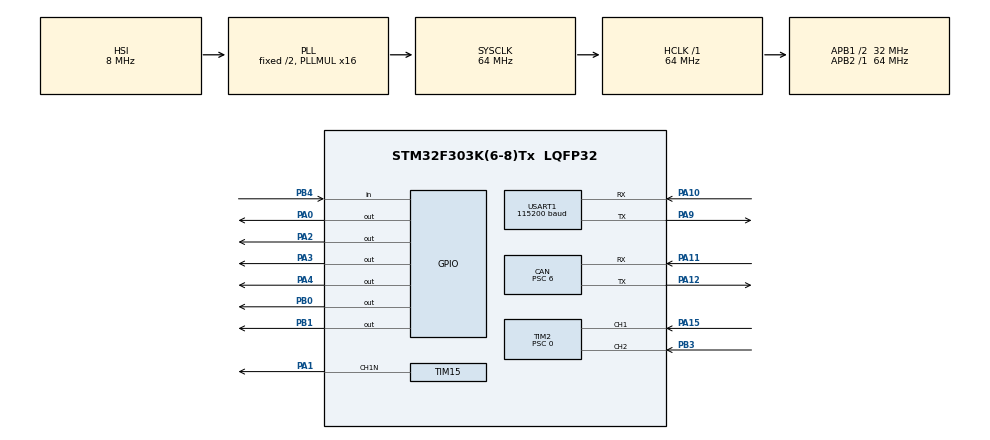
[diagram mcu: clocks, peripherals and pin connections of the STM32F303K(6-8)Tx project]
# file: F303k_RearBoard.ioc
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CAN.BS1=CAN_BS1_10TQ
CAN.CalculateTimeQuantum=187.5
CAN.Mode=CAN_MODE_NORMAL
CAN.Prescaler=6
IWDG.Prescaler=IWDG_PRESCALER_8
Mcu.Family=STM32F3
Mcu.Name=STM32F303K(6-8)Tx
Mcu.Package=LQFP32
NVIC.CAN_RX0_IRQn=true\:2\:0\:true\:false\:true\:true\:true
NVIC.CAN_RX1_IRQn=true\:3\:0\:true\:false\:true\:true\:true
NVIC.CAN_TX_IRQn=true\:1\:0\:true\:false\:true\:true\:true
NVIC.PriorityGroup=NVIC_PRIORITYGROUP_4
NVIC.TIM7_DAC2_IRQn=true\:5\:0\:true\:false\:true\:true\:true
PA0.Signal=GPIO_Output
PA1.GPIO_PuPd=GPIO_NOPULL
PA1.GPIO_Speed=GPIO_SPEED_FREQ_HIGH
PA1.Mode=PWM Generation1 CH1N
PA1.Signal=TIM15_CH1N
PA10.Mode=Asynchronous
PA10.Signal=USART1_RX
PA11.Mode=Master
PA11.Signal=CAN_RX
PA12.Mode=Master
PA12.Signal=CAN_TX
PA13.Mode=Serial_Wire
PA13.Signal=SYS_JTMS-SWDIO
PA14.Mode=Serial_Wire
PA14.Signal=SYS_JTCK-SWCLK
PA15.GPIO_ModeDefaultPP=GPIO_MODE_AF_PP
PA15.GPIO_PuPd=GPIO_NOPULL
PA15.GPIO_Speed=GPIO_SPEED_FREQ_HIGH
PA15.Signal=S_TIM2_CH1_ETR
PA2.Signal=GPIO_Output
PA3.Signal=GPIO_Output
PA4.Signal=GPIO_Output
PA9.Mode=Asynchronous
PA9.Signal=USART1_TX
PB0.Signal=GPIO_Output
PB1.Signal=GPIO_Output
PB3.GPIO_ModeDefaultPP=GPIO_MODE_AF_PP
PB3.GPIO_PuPd=GPIO_NOPULL
PB3.GPIO_Speed=GPIO_SPEED_FREQ_HIGH
PB3.Signal=S_TIM2_CH2
PB4.Signal=GPIO_Input
PF0\ /\ OSC_IN.Mode=HSE-External-Oscillator
PF0\ /\ OSC_IN.Signal=RCC_OSC_IN
PF1\ /\ OSC_OUT.Mode=HSE-External-Oscillator
PF1\ /\ OSC_OUT.Signal=RCC_OSC_OUT
ProjectManager.HeapSize=0x200
ProjectManager.StackSize=0x400
ProjectManager.TargetToolchain=STM32CubeIDE
RCC.AHBFreq_Value=64000000
RCC.APB1CLKDivider=RCC_HCLK_DIV2
RCC.APB1Freq_Value=32000000
RCC.APB1TimFreq_Value=64000000
RCC.APB2Freq_Value=64000000
RCC.APB2TimFreq_Value=64000000
RCC.CortexFreq_Value=64000000
RCC.HCLKFreq_Value=64000000
RCC.HSE_VALUE=8000000
RCC.HSI_VALUE=8000000
RCC.PLLMUL=RCC_PLL_MUL16
RCC.SYSCLKFreq_VALUE=64000000
RCC.SYSCLKSourceVirtual=RCC_SYSCLKSOURCE_PLLCLK
SH.S_TIM2_CH1_ETR.0=TIM2_CH1,Encoder_Interface
SH.S_TIM2_CH2.0=TIM2_CH2,Encoder_Interface
TIM15.Channel-PWM\ Generation1\ CH1N=TIM_CHANNEL_1
TIM15.Period=1000
TIM15.Prescaler=72
TIM2.EncoderMode=TIM_ENCODERMODE_TI1
TIM2.IC1Filter=2
TIM2.IC1Polarity=TIM_ICPOLARITY_RISING
TIM2.IC2Filter=2
TIM2.IC2Polarity=TIM_ICPOLARITY_RISING
TIM2.Period=2000000000
TIM2.Prescaler=0
TIM7.Period=10000
TIM7.Prescaler=72
USART1.BaudRate=115200
USART1.SwapParam=ADVFEATURE_SWAP_DISABLE
USART1.VirtualMode-Asynchronous=VM_ASYNC
VP_IWDG_VS_IWDG.Mode=IWDG_Activate
VP_TIM7_VS_ClockSourceINT.Mode=Enable_Timer
board=custom

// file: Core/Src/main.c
/* USER CODE BEGIN Header */
/**
  ******************************************************************************
  * @file           : main.c
  * @brief          : Main program body
  ******************************************************************************
  * @attention
  *
  * <h2><center>&copy; Copyright (c) 2020 STMicroelectronics.
  * All rights reserved.</center></h2>
  *
  * This software component is licensed by ST under BSD 3-Clause license,
  * the "License"; You may not use this file except in compliance with the
  * License. You may obtain a copy of the License at:
  *                        opensource.org/licenses/BSD-3-Clause
  *
  ******************************************************************************
  */
/* USER CODE END Header */
#include "main.h"
#include "can.h"
#include "iwdg.h"
#include "tim.h"
#include "usart.h"
#include "gpio.h"

/* USER CODE BEGIN Includes */
#include "management.h"
/* USER CODE END Includes */

void SystemClock_Config(void);

/* USER CODE BEGIN 0 */
#ifdef __GNUC__
#define PUTCHAR_PROTOTYPE int __io_putchar(int ch)
#else
#define PUTCHAR_PROTOTYPE int fputc(int ch, FILE *f)
#endif /* __GNUC__ */
void __io_putchar(uint8_t ch) {
HAL_UART_Transmit(&huart1, &ch, 1, 1);
}

uint8_t Craction_in,Break_in,Flont_Lamp_in,Key_in,EX_in,Winker_L_in,Winker_R_in;
uint8_t state;
float slot;
uint8_t cnt_Winker_L,cnt_Winker_R;
float speed;
int32_t speed_count,counter;
/* USER CODE END 0 */

int main(void)
{

  /* MCU Configuration--------------------------------------------------------*/

  /* Reset of all peripherals, Initializes the Flash interface and the Systick. */
  HAL_Init();

  /* Configure the system clock */
  SystemClock_Config();

  /* Initialize all configured peripherals */
  MX_GPIO_Init();
  MX_CAN_Init();
  MX_USART1_UART_Init();
  MX_TIM2_Init();
  MX_TIM7_Init();
  MX_TIM15_Init();
  MX_IWDG_Init();
  /* USER CODE BEGIN 2 */
  setbuf(stdout, NULL);
  can_init(&hcan);
  HAL_TIM_Base_Start_IT(&htim7);
  HAL_TIM_PWM_Init(&htim15);
  HAL_TIM_PWM_Start(&htim15, TIM_CHANNEL_1);
  __HAL_TIM_SET_COMPARE(&htim15, TIM_CHANNEL_1, 1001);
  HAL_TIMEx_PWMN_Start(&htim15, TIM_CHANNEL_1);
  TIM2->CNT=2000000;
  HAL_TIM_Encoder_Start(&htim2, TIM_CHANNEL_ALL);
  /* USER CODE END 2 */

  /* Infinite loop */
  while (1)
  {

    /* USER CODE BEGIN 3 */
	  printf(" slot=%f",slot);
	  printf(" state=%d",state);
	  printf(" C=%d",Craction_in);
	  printf(" F=%d",Flont_Lamp_in);
	  printf(" B=%d",Break_in);
	  printf(" L=%d",Winker_L_in);
	  printf(" R=%d",Winker_R_in);
	  printf(" K=%d",Key_in);
	  printf(" E=%d",EX_in);
	  printf(" speed=%f",speed);
	  printf(" speed_count=%d",(TIM2->CNT));
	  printf("\r\n");
	  HAL_IWDG_Refresh(&hiwdg);
  }
  /* USER CODE END 3 */
}

void SystemClock_Config(void)
{
  RCC_OscInitTypeDef RCC_OscInitStruct = {0};
  RCC_ClkInitTypeDef RCC_ClkInitStruct = {0};
  RCC_PeriphCLKInitTypeDef PeriphClkInit = {0};

  /** Initializes the RCC Oscillators according to the specified parameters
  * in the RCC_OscInitTypeDef structure.
  */
  RCC_OscInitStruct.OscillatorType = RCC_OSCILLATORTYPE_HSI|RCC_OSCILLATORTYPE_LSI;
  RCC_OscInitStruct.HSIState = RCC_HSI_ON;
  RCC_OscInitStruct.HSICalibrationValue = RCC_HSICALIBRATION_DEFAULT;
  RCC_OscInitStruct.LSIState = RCC_LSI_ON;
  RCC_OscInitStruct.PLL.PLLState = RCC_PLL_ON;
  RCC_OscInitStruct.PLL.PLLSource = RCC_PLLSOURCE_HSI;
  RCC_OscInitStruct.PLL.PLLMUL = RCC_PLL_MUL16;
  if (HAL_RCC_OscConfig(&RCC_OscInitStruct) != HAL_OK)
  {
    Error_Handler();
  }
  /** Initializes the CPU, AHB and APB buses clocks
  */
  RCC_ClkInitStruct.ClockType = RCC_CLOCKTYPE_HCLK|RCC_CLOCKTYPE_SYSCLK
                              |RCC_CLOCKTYPE_PCLK1|RCC_CLOCKTYPE_PCLK2;
  RCC_ClkInitStruct.SYSCLKSource = RCC_SYSCLKSOURCE_PLLCLK;
  RCC_ClkInitStruct.AHBCLKDivider = RCC_SYSCLK_DIV1;
  RCC_ClkInitStruct.APB1CLKDivider = RCC_HCLK_DIV2;
  RCC_ClkInitStruct.APB2CLKDivider = RCC_HCLK_DIV1;

  if (HAL_RCC_ClockConfig(&RCC_ClkInitStruct, FLASH_LATENCY_2) != HAL_OK)
  {
    Error_Handler();
  }
  PeriphClkInit.PeriphClockSelection = RCC_PERIPHCLK_USART1;
  PeriphClkInit.Usart1ClockSelection = RCC_USART1CLKSOURCE_PCLK1;
  if (HAL_RCCEx_PeriphCLKConfig(&PeriphClkInit) != HAL_OK)
  {
    Error_Handler();
  }
}

/* USER CODE BEGIN 4 */

void HAL_CAN_RxFifo0MsgPendingCallback(CAN_HandleTypeDef *hcan)
{
	if (HAL_CAN_GetRxMessage(hcan, CAN_RX_FIFO0, &RxHeader, RxData) != HAL_OK)
	  	{
	    		Error_Handler();
	  	}

	switch (RxHeader.StdId){
	//error
	case 0x000:
		NVIC_SystemReset();
		break;

	//state button
	case 0x100:
		state=RxData[0];
		break;
	//slot
	case 0x101:
		slot=uchar4_to_float(RxData);
		break;

	}

}

void HAL_TIM_PeriodElapsedCallback(TIM_HandleTypeDef *htim)
{

	if(counter>10){
		speed_count= (TIM2->CNT)-2000000;
		TIM2->CNT=2000000;
		speed=(float)speed_count/100.0;
		counter=0;
	}
	counter++;

	float_to_uchar4(TxData,speed);
	can_send(0x102,(uint8_t*)TxData);

	Winker_L_in=  (state & 0b01000000)>>6;
	Winker_R_in=  (state & 0b00100000)>>5;
	Craction_in=  (state & 0b00010000)>>4;
	Break_in=     (state & 0b00001000)>>3;
	Flont_Lamp_in=(state & 0b00000100)>>2;
	Key_in=       (state & 0b00000010)>>1;
	EX_in=        (state & 0b00000001);

	if(Flont_Lamp_in==0){
		if(Break_in==1){
			__HAL_TIM_SET_COMPARE(&htim15, TIM_CHANNEL_1, 0);
			  HAL_TIMEx_PWMN_Start(&htim15, TIM_CHANNEL_1);
		}
		else{
			__HAL_TIM_SET_COMPARE(&htim15, TIM_CHANNEL_1, 700);
			  HAL_TIMEx_PWMN_Start(&htim15, TIM_CHANNEL_1);
		}
		HAL_GPIO_WritePin(GPIOA, GPIO_PIN_3, 1);
	}
	else{
		if(Break_in==1){
			__HAL_TIM_SET_COMPARE(&htim15, TIM_CHANNEL_1, 0);
			HAL_TIMEx_PWMN_Start(&htim15, TIM_CHANNEL_1);
		}
		else{
			__HAL_TIM_SET_COMPARE(&htim15, TIM_CHANNEL_1, 1001);
			HAL_TIMEx_PWMN_Start(&htim15, TIM_CHANNEL_1);
		}
		HAL_GPIO_WritePin(GPIOA, GPIO_PIN_3, 0);
	}

	if(Winker_L_in==0){
		HAL_GPIO_WritePin(GPIOA, GPIO_PIN_2,1);
	}
	else{
		HAL_GPIO_WritePin(GPIOA, GPIO_PIN_2,0);
	}

	if(Winker_R_in==0){
		HAL_GPIO_WritePin(GPIOA, GPIO_PIN_4,1);
	}
	else{
		HAL_GPIO_WritePin(GPIOA, GPIO_PIN_4,0);
	}

	HAL_GPIO_TogglePin(GPIOB, GPIO_PIN_1);
}
/* USER CODE END 4 */

void Error_Handler(void)
{
  /* USER CODE BEGIN Error_Handler_Debug */
  /* User can add his own implementation to report the HAL error return state */
	TxData[0]=0x03;
	TxData[1]=0xFF;
	can_send(0x000,(uint8_t*)TxData);
	HAL_GPIO_TogglePin(GPIOB, GPIO_PIN_0);
	HAL_Delay(100);
  /* USER CODE END Error_Handler_Debug */
}

/************************ (C) COPYRIGHT STMicroelectronics *****END OF FILE****/
